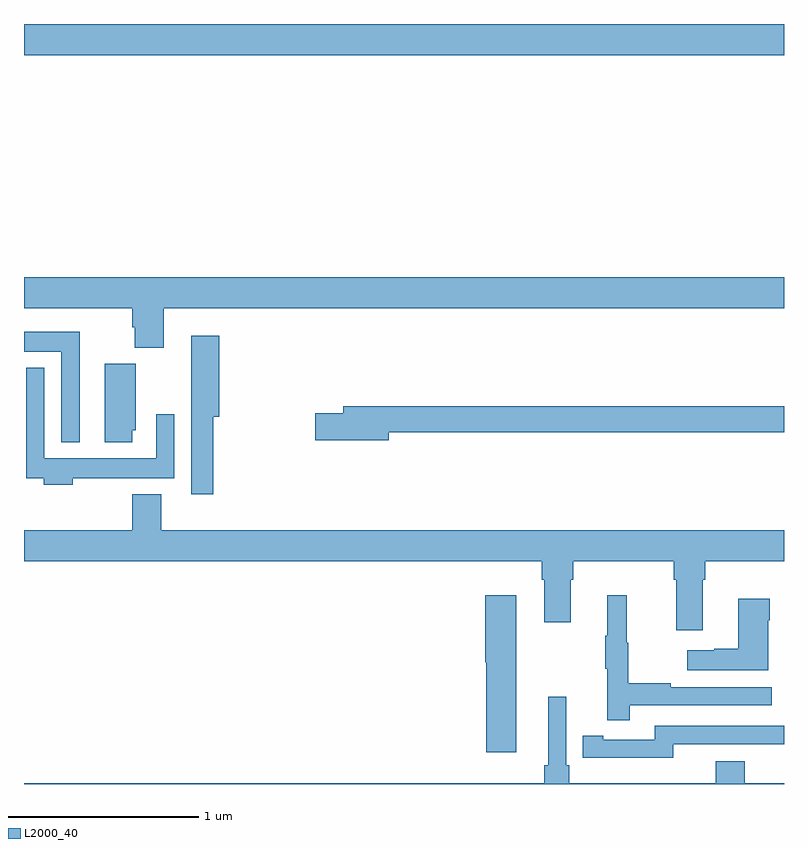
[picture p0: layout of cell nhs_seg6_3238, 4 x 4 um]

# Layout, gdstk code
import gdstk
lib = gdstk.Library(unit=1e-6, precision=1e-09)
def R(c, l, rs):  # rectangles x0, y0, x1, y1
    for r in rs: c.add(gdstk.rectangle(r[:2], r[2:], *l))
def P(c, l, *ps):  # polygons
    for p in ps: c.add(gdstk.Polygon(p, *l))
L2000_40 = (2000, 40)

nhs_seg6_3238 = lib.new_cell('nhs_seg6_3238')
R(nhs_seg6_3238, L2000_40, [(301,947.336,305,947.5)])
P(nhs_seg6_3238, L2000_40, [(301.736,946.004),(305,946.004),(305,946.168),(301,946.168),(301,946.004),(301.571,946.004),(301.571,945.905),(301.583,945.905),(301.583,945.796),(301.736,945.796)],
  [(301.294,945.88),(301,945.88),(301,945.776),(301.197,945.776),(301.197,945.299),(301.294,945.299)],
  [(301.997,945.434),(302.027,945.434),(302.027,945.859),(301.88,945.859),(301.88,945.538),(301.881,945.538),(301.881,945.024),(301.997,945.024)],
  [(301.57,945.363),(301.588,945.363),(301.588,945.711),(301.424,945.711),(301.424,945.3),(301.57,945.3)],
  [(301.256,945.108),(301.487,945.108),(301.487,945.11),(301.791,945.11),(301.791,945.445),(301.695,945.445),(301.695,945.214),(301.107,945.214),(301.107,945.691),(301.011,945.691),(301.011,945.108),(301.103,945.108),(301.103,945.074),(301.256,945.074)],
  [(302.92,945.352),(305,945.352),(305,945.488),(302.681,945.488),(302.681,945.452),(302.532,945.452),(302.532,945.31),(302.92,945.31)],
  [(304.573,944.576),(304.586,944.576),(304.586,944.672),(305,944.672),(305,944.836),(301.723,944.836),(301.723,945.025),(301.571,945.025),(301.571,944.836),(301,944.836),(301,944.672),(303.725,944.672),(303.725,944.576),(303.737,944.576),(303.737,944.352),(303.877,944.352),(303.877,944.576),(303.89,944.576),(303.89,944.672),(304.421,944.672),(304.421,944.576),(304.433,944.576),(304.433,944.31),(304.573,944.31)],
  [(303.592,944.494),(303.428,944.494),(303.428,944.142),(303.434,944.142),(303.434,943.668),(303.592,943.668)],
  [(304.187,943.914),(304.936,943.914),(304.936,944.01),(304.403,944.01),(304.403,944.03),(304.18,944.03),(304.18,944.244),(304.172,944.244),(304.172,944.494),(304.07,944.494),(304.07,944.281),(304.059,944.281),(304.059,944.107),(304.07,944.107),(304.07,943.836),(304.187,943.836)],
  [(304.918,944.363),(304.926,944.363),(304.926,944.476),(304.76,944.476),(304.76,944.213),(304.634,944.213),(304.634,944.203),(304.491,944.203),(304.491,944.099),(304.918,944.099)],
  [(301,943.5),(305,943.5),(305,943.504),(304.793,943.504),(304.793,943.621),(304.64,943.621),(304.64,943.504),(303.869,943.504),(303.869,943.6),(303.855,943.6),(303.855,943.96),(303.758,943.96),(303.758,943.6),(303.739,943.6),(303.739,943.504),(301,943.504)],
  [(304.416,943.71),(304.876,943.71),(304.876,943.709),(305,943.709),(305,943.806),(304.32,943.806),(304.32,943.734),(304.048,943.734),(304.048,943.754),(303.94,943.754),(303.94,943.638),(304.048,943.638),(304.048,943.637),(304.416,943.637)])

lib.write_gds('nhs_seg6_3238.gds')
